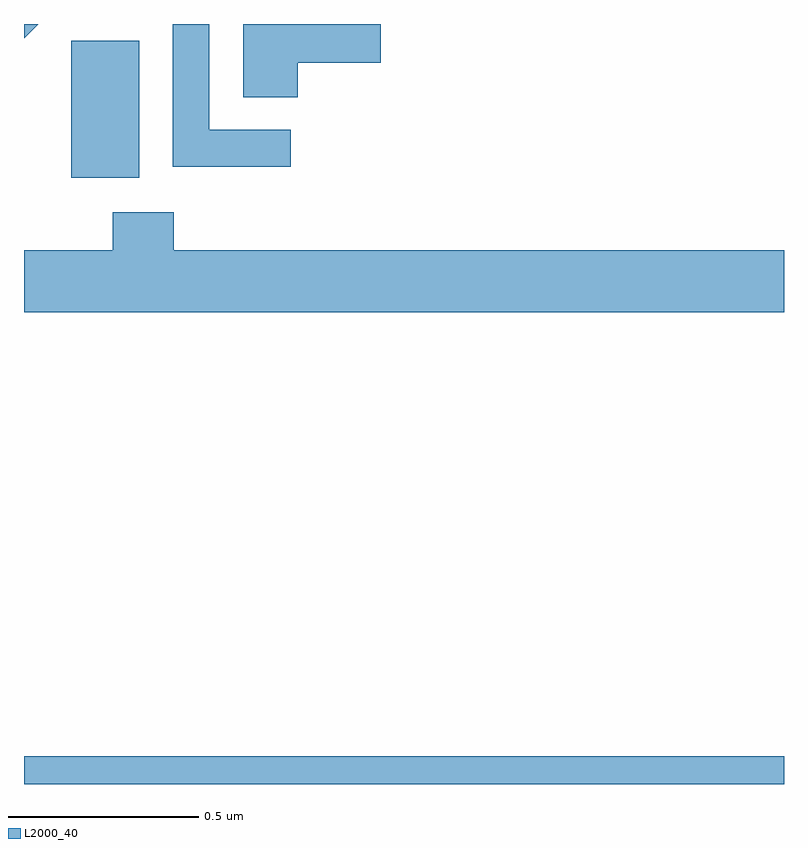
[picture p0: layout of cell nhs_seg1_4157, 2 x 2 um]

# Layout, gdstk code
import gdstk
lib = gdstk.Library(unit=1e-6, precision=1e-09)
def R(c, l, rs):  # rectangles x0, y0, x1, y1
    for r in rs: c.add(gdstk.rectangle(r[:2], r[2:], *l))
def P(c, l, *ps):  # polygons
    for p in ps: c.add(gdstk.Polygon(p, *l))
L2000_40 = (2000, 40)

nhs_seg1_4157 = lib.new_cell('nhs_seg1_4157')
R(nhs_seg1_4157, L2000_40, [(163,509.199,165,509.272), (163.124,510.794,163.303,511.155)])
P(nhs_seg1_4157, L2000_40, [(163.037,511.199),(163,511.199),(163,511.162)],
  [(163.702,510.921),(163.488,510.921),(163.488,511.199),(163.392,511.199),(163.392,510.823),(163.702,510.823)],
  [(163.721,511.097),(163.939,511.097),(163.939,511.199),(163.577,511.199),(163.577,511.006),(163.721,511.006)],
  [(165,510.604),(163.394,510.604),(163.394,510.703),(163.234,510.703),(163.234,510.604),(163,510.604),(163,510.44),(165,510.44)])

lib.write_gds('nhs_seg1_4157.gds')
